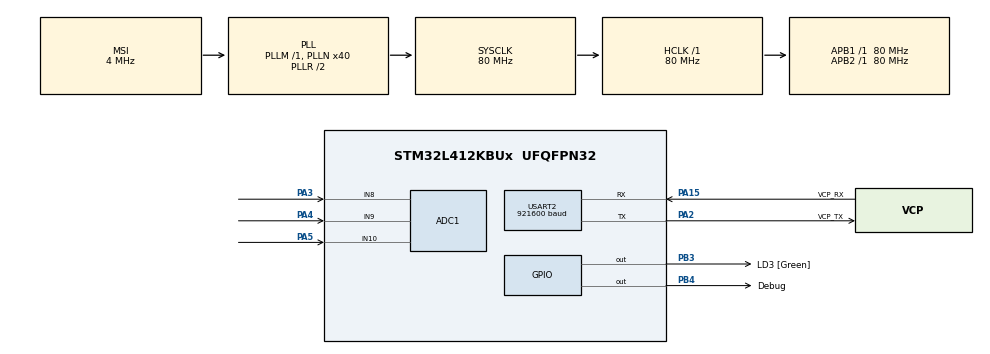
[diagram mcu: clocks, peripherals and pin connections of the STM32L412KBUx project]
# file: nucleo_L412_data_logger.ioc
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ADC1.Channel-0\#ChannelRegularConversion=ADC_CHANNEL_8
ADC1.ContinuousConvMode=ENABLE
ADC1.EnableInjectedConversion=ENABLE
ADC1.InjMonitoredBy-1\#ChannelInjectedConversion=__NULL
ADC1.InjMonitoredBy-2\#ChannelInjectedConversion=__NULL
ADC1.InjMonitoredBy-3\#ChannelInjectedConversion=__NULL
ADC1.InjNumberOfConversion=3
ADC1.InjectedChannel-1\#ChannelInjectedConversion=ADC_CHANNEL_8
ADC1.InjectedChannel-2\#ChannelInjectedConversion=ADC_CHANNEL_9
ADC1.InjectedChannel-3\#ChannelInjectedConversion=ADC_CHANNEL_10
ADC1.InjectedOffsetNumber-1\#ChannelInjectedConversion=ADC_OFFSET_NONE
ADC1.InjectedOffsetNumber-2\#ChannelInjectedConversion=ADC_OFFSET_NONE
ADC1.InjectedOffsetNumber-3\#ChannelInjectedConversion=ADC_OFFSET_NONE
ADC1.InjectedRank-1\#ChannelInjectedConversion=1
ADC1.InjectedRank-2\#ChannelInjectedConversion=2
ADC1.InjectedRank-3\#ChannelInjectedConversion=3
ADC1.InjectedSamplingTime-1\#ChannelInjectedConversion=ADC_SAMPLETIME_2CYCLES_5
ADC1.InjectedSamplingTime-2\#ChannelInjectedConversion=ADC_SAMPLETIME_2CYCLES_5
ADC1.InjectedSamplingTime-3\#ChannelInjectedConversion=ADC_SAMPLETIME_2CYCLES_5
ADC1.NbrOfConversionFlag=1
ADC1.OffsetNumber-0\#ChannelRegularConversion=ADC_OFFSET_NONE
ADC1.Rank-0\#ChannelRegularConversion=1
ADC1.Rank1_Channel=ADC_CHANNEL_8
ADC1.Rank2_Channel=ADC_CHANNEL_9
ADC1.Rank3_Channel=ADC_CHANNEL_10
ADC1.SamplingTime-0\#ChannelRegularConversion=ADC_SAMPLETIME_2CYCLES_5
ADC1.master=1
Mcu.Family=STM32L4
Mcu.Name=STM32L412KBUx
Mcu.Package=UFQFPN32
NVIC.PriorityGroup=NVIC_PRIORITYGROUP_4
PA0-CK_IN.Mode=HSE-External-Clock-Source-for-LittleOrca
PA0-CK_IN.Signal=RCC_CK_IN
PA13\ (JTMS/SWDIO).GPIO_Label=SWDIO
PA13\ (JTMS/SWDIO).Mode=Serial_Wire
PA13\ (JTMS/SWDIO).Signal=SYS_JTMS-SWDIO
PA14\ (JTCK/SWCLK).GPIO_Label=SWCLK
PA14\ (JTCK/SWCLK).Mode=Serial_Wire
PA14\ (JTCK/SWCLK).Signal=SYS_JTCK-SWCLK
PA15\ (JTDI).GPIO_Label=VCP_RX
PA15\ (JTDI).Mode=Asynchronous
PA15\ (JTDI).Signal=USART2_RX
PA2.GPIO_Label=VCP_TX
PA2.Mode=Asynchronous
PA2.Signal=USART2_TX
PA3.Signal=ADCx_IN8
PA4.Signal=ADCx_IN9
PA5.Signal=ADCx_IN10
PB3\ (JTDO/TRACESWO).GPIO_Label=LD3 [Green]
PB3\ (JTDO/TRACESWO).Signal=GPIO_Output
PB4\ (NJTRST).GPIO_Label=Debug
PB4\ (NJTRST).GPIO_PuPd=GPIO_PULLDOWN
PB4\ (NJTRST).GPIO_Speed=GPIO_SPEED_FREQ_VERY_HIGH
PB4\ (NJTRST).Signal=GPIO_Output
PC14-OSC32_IN\ (PC14).Mode=LSE-External-Oscillator
PC14-OSC32_IN\ (PC14).Signal=RCC_OSC32_IN
PC15-OSC32_OUT\ (PC15).Mode=LSE-External-Oscillator
PC15-OSC32_OUT\ (PC15).Signal=RCC_OSC32_OUT
ProjectManager.HeapSize=0x200
ProjectManager.StackSize=0x400
ProjectManager.TargetToolchain=EWARM V8.32
RCC.ADCFreq_Value=80000000
RCC.AHBFreq_Value=80000000
RCC.APB1Freq_Value=80000000
RCC.APB1TimFreq_Value=80000000
RCC.APB2Freq_Value=80000000
RCC.APB2TimFreq_Value=80000000
RCC.CortexFreq_Value=80000000
RCC.FLatency=FLASH_LATENCY_4
RCC.HCLKFreq_Value=80000000
RCC.HSE_VALUE=8000000
RCC.HSI48_VALUE=48000000
RCC.HSICalibrationValue=16
RCC.HSI_VALUE=16000000
RCC.LSE_Drive_Capability=RCC_LSEDRIVE_LOW
RCC.MSI_VALUE=4000000
RCC.PLLN=40
RCC.SYSCLKFreq_VALUE=80000000
RCC.SYSCLKSource=RCC_SYSCLKSOURCE_PLLCLK
RCC.USBFreq_Value=4000000
RCC.VCOOutputFreq_Value=160000000
SH.ADCx_IN10.0=ADC1_IN10,IN10-Single-Ended
SH.ADCx_IN8.0=ADC1_IN8,IN8-Single-Ended
SH.ADCx_IN9.0=ADC1_IN9,IN9-Single-Ended
TIM6.Prescaler=7999
USART2.BaudRate=921600
USART2.VirtualMode-Asynchronous=VM_ASYNC
VP_TIM6_VS_ClockSourceINT.Mode=Enable_Timer
board=NUCLEO-L412KB

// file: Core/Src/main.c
/* USER CODE BEGIN Header */
/**
  ******************************************************************************
  * @file           : main.c
  * @brief          : Main program body
  ******************************************************************************
  * @attention
  *
  * Copyright (c) 2023 STMicroelectronics.
  * All rights reserved.
  *
  * This software is licensed under terms that can be found in the LICENSE file
  * in the root directory of this software component.
  * If no LICENSE file comes with this software, it is provided AS-IS.
  *
  ******************************************************************************
  */
/* USER CODE END Header */
#include "main.h"

/* USER CODE BEGIN Includes */

#include <stdio.h>
#include <string.h>

/* USER CODE END Includes */

ADC_HandleTypeDef hadc1;

TIM_HandleTypeDef htim6;

UART_HandleTypeDef huart2;

void SystemClock_Config(void);
static void MX_GPIO_Init(void);
static void MX_USART2_UART_Init(void);
static void MX_ADC1_Init(void);
static void MX_TIM6_Init(void);

/* USER CODE BEGIN 0 */

//#define UART_SPEED 115200
//#define UART_SPEED 921600  // 104 uSEc
#define UART_SPEED 1843200 // 52  uSec

//#define ROW_LEN  (512)
#define ROW_LEN  (1536)

uint32_t row_count = 0;

uint32_t raw_adc1_ch1_val = 0;
uint32_t raw_adc1_ch2_val = 0;
uint32_t raw_adc1_ch3_val = 0;

uint8_t msg_bug[32];
int msg_len = 0;

/* USER CODE END 0 */

int main(void)
{

  /* MCU Configuration--------------------------------------------------------*/

  /* Reset of all peripherals, Initializes the Flash interface and the Systick. */
  HAL_Init();

  /* Configure the system clock */
  SystemClock_Config();

  /* Initialize all configured peripherals */
  MX_GPIO_Init();
  MX_USART2_UART_Init();
  MX_ADC1_Init();
  MX_TIM6_Init();

  /* Infinite loop */
  /* USER CODE BEGIN WHILE */

  HAL_ADCEx_Calibration_Start(&hadc1, ADC_SINGLE_ENDED);

  HAL_TIM_Base_Start(&htim6);

  while (1)
  {

    HAL_GPIO_WritePin(Debug_GPIO_Port, Debug_Pin, GPIO_PIN_SET);

    HAL_ADCEx_InjectedStart(&hadc1);

    __HAL_TIM_SET_COUNTER(&htim6, 0);

    HAL_ADCEx_InjectedPollForConversion(&hadc1, 1);

    //HAL_Delay(1);

    raw_adc1_ch1_val = HAL_ADCEx_InjectedGetValue(&hadc1, ADC_INJECTED_RANK_1);
    raw_adc1_ch2_val = HAL_ADCEx_InjectedGetValue(&hadc1, ADC_INJECTED_RANK_2);
    raw_adc1_ch3_val = HAL_ADCEx_InjectedGetValue(&hadc1, ADC_INJECTED_RANK_3);

    double data1 = raw_adc1_ch1_val;

    if(row_count < (ROW_LEN - 1) )
    {
        row_count += 1;

        msg_len = sprintf((char*)msg_bug, "%.4f ", data1);  // 28 uSec
    }
    else
    {
        row_count = 0;

        msg_len = sprintf((char*)msg_bug, "%.4f\n", data1);  // 28 uSec
    }

    HAL_UART_Transmit(&huart2, msg_bug, msg_len, 1);  // 102 uSec

    HAL_GPIO_WritePin(Debug_GPIO_Port, Debug_Pin, GPIO_PIN_RESET);
    //HAL_GPIO_TogglePin(Debug_GPIO_Port, Debug_Pin);

    while( __HAL_TIM_GET_COUNTER(&htim6) < 10 )  // 1 msec delay
    {
    }

    /* USER CODE END WHILE */

  }
}

void SystemClock_Config(void)
{
  RCC_OscInitTypeDef RCC_OscInitStruct = {0};
  RCC_ClkInitTypeDef RCC_ClkInitStruct = {0};

  /** Configure the main internal regulator output voltage
  */
  if (HAL_PWREx_ControlVoltageScaling(PWR_REGULATOR_VOLTAGE_SCALE1) != HAL_OK)
  {
    Error_Handler();
  }

  /** Configure LSE Drive Capability
  */
  HAL_PWR_EnableBkUpAccess();
  __HAL_RCC_LSEDRIVE_CONFIG(RCC_LSEDRIVE_LOW);

  /** Initializes the RCC Oscillators according to the specified parameters
  * in the RCC_OscInitTypeDef structure.
  */
  RCC_OscInitStruct.OscillatorType = RCC_OSCILLATORTYPE_LSE|RCC_OSCILLATORTYPE_MSI;
  RCC_OscInitStruct.LSEState = RCC_LSE_ON;
  RCC_OscInitStruct.MSIState = RCC_MSI_ON;
  RCC_OscInitStruct.MSICalibrationValue = 0;
  RCC_OscInitStruct.MSIClockRange = RCC_MSIRANGE_6;
  RCC_OscInitStruct.PLL.PLLState = RCC_PLL_ON;
  RCC_OscInitStruct.PLL.PLLSource = RCC_PLLSOURCE_MSI;
  RCC_OscInitStruct.PLL.PLLM = 1;
  RCC_OscInitStruct.PLL.PLLN = 40;
  RCC_OscInitStruct.PLL.PLLQ = RCC_PLLQ_DIV2;
  RCC_OscInitStruct.PLL.PLLR = RCC_PLLR_DIV2;
  if (HAL_RCC_OscConfig(&RCC_OscInitStruct) != HAL_OK)
  {
    Error_Handler();
  }

  /** Initializes the CPU, AHB and APB buses clocks
  */
  RCC_ClkInitStruct.ClockType = RCC_CLOCKTYPE_HCLK|RCC_CLOCKTYPE_SYSCLK
                              |RCC_CLOCKTYPE_PCLK1|RCC_CLOCKTYPE_PCLK2;
  RCC_ClkInitStruct.SYSCLKSource = RCC_SYSCLKSOURCE_PLLCLK;
  RCC_ClkInitStruct.AHBCLKDivider = RCC_SYSCLK_DIV1;
  RCC_ClkInitStruct.APB1CLKDivider = RCC_HCLK_DIV1;
  RCC_ClkInitStruct.APB2CLKDivider = RCC_HCLK_DIV1;

  if (HAL_RCC_ClockConfig(&RCC_ClkInitStruct, FLASH_LATENCY_4) != HAL_OK)
  {
    Error_Handler();
  }

  /** Enable MSI Auto calibration
  */
  HAL_RCCEx_EnableMSIPLLMode();
}

static void MX_ADC1_Init(void)
{

  ADC_MultiModeTypeDef multimode = {0};
  ADC_ChannelConfTypeDef sConfig = {0};
  ADC_InjectionConfTypeDef sConfigInjected = {0};

  /** Common config
  */
  hadc1.Instance = ADC1;
  hadc1.Init.ClockPrescaler = ADC_CLOCK_ASYNC_DIV1;
  hadc1.Init.Resolution = ADC_RESOLUTION_12B;
  hadc1.Init.DataAlign = ADC_DATAALIGN_RIGHT;
  hadc1.Init.ScanConvMode = ADC_SCAN_ENABLE;
  hadc1.Init.EOCSelection = ADC_EOC_SINGLE_CONV;
  hadc1.Init.LowPowerAutoWait = DISABLE;
  hadc1.Init.ContinuousConvMode = ENABLE;
  hadc1.Init.NbrOfConversion = 1;
  hadc1.Init.DiscontinuousConvMode = DISABLE;
  hadc1.Init.ExternalTrigConv = ADC_SOFTWARE_START;
  hadc1.Init.ExternalTrigConvEdge = ADC_EXTERNALTRIGCONVEDGE_NONE;
  hadc1.Init.DMAContinuousRequests = DISABLE;
  hadc1.Init.Overrun = ADC_OVR_DATA_PRESERVED;
  hadc1.Init.OversamplingMode = DISABLE;
  if (HAL_ADC_Init(&hadc1) != HAL_OK)
  {
    Error_Handler();
  }

  /** Configure the ADC multi-mode
  */
  multimode.Mode = ADC_MODE_INDEPENDENT;
  if (HAL_ADCEx_MultiModeConfigChannel(&hadc1, &multimode) != HAL_OK)
  {
    Error_Handler();
  }

  /** Disable Injected Queue
  */
  HAL_ADCEx_DisableInjectedQueue(&hadc1);

  /** Configure Regular Channel
  */
  sConfig.Channel = ADC_CHANNEL_8;
  sConfig.Rank = ADC_REGULAR_RANK_1;
  sConfig.SamplingTime = ADC_SAMPLETIME_2CYCLES_5;
  sConfig.SingleDiff = ADC_SINGLE_ENDED;
  sConfig.OffsetNumber = ADC_OFFSET_NONE;
  sConfig.Offset = 0;
  if (HAL_ADC_ConfigChannel(&hadc1, &sConfig) != HAL_OK)
  {
    Error_Handler();
  }

  /** Configure Injected Channel
  */
  sConfigInjected.InjectedChannel = ADC_CHANNEL_8;
  sConfigInjected.InjectedRank = ADC_INJECTED_RANK_1;
  sConfigInjected.InjectedSamplingTime = ADC_SAMPLETIME_2CYCLES_5;
  sConfigInjected.InjectedSingleDiff = ADC_SINGLE_ENDED;
  sConfigInjected.InjectedOffsetNumber = ADC_OFFSET_NONE;
  sConfigInjected.InjectedOffset = 0;
  sConfigInjected.InjectedNbrOfConversion = 3;
  sConfigInjected.InjectedDiscontinuousConvMode = DISABLE;
  sConfigInjected.AutoInjectedConv = DISABLE;
  sConfigInjected.QueueInjectedContext = DISABLE;
  sConfigInjected.ExternalTrigInjecConv = ADC_INJECTED_SOFTWARE_START;
  sConfigInjected.ExternalTrigInjecConvEdge = ADC_EXTERNALTRIGINJECCONV_EDGE_NONE;
  sConfigInjected.InjecOversamplingMode = DISABLE;
  if (HAL_ADCEx_InjectedConfigChannel(&hadc1, &sConfigInjected) != HAL_OK)
  {
    Error_Handler();
  }

  /** Configure Injected Channel
  */
  sConfigInjected.InjectedChannel = ADC_CHANNEL_9;
  sConfigInjected.InjectedRank = ADC_INJECTED_RANK_2;
  if (HAL_ADCEx_InjectedConfigChannel(&hadc1, &sConfigInjected) != HAL_OK)
  {
    Error_Handler();
  }

  /** Configure Injected Channel
  */
  sConfigInjected.InjectedChannel = ADC_CHANNEL_10;
  sConfigInjected.InjectedRank = ADC_INJECTED_RANK_3;
  if (HAL_ADCEx_InjectedConfigChannel(&hadc1, &sConfigInjected) != HAL_OK)
  {
    Error_Handler();
  }

}

static void MX_TIM6_Init(void)
{

  TIM_MasterConfigTypeDef sMasterConfig = {0};

  htim6.Instance = TIM6;
  htim6.Init.Prescaler = 7999;
  htim6.Init.CounterMode = TIM_COUNTERMODE_UP;
  htim6.Init.Period = 65535;
  htim6.Init.AutoReloadPreload = TIM_AUTORELOAD_PRELOAD_DISABLE;
  if (HAL_TIM_Base_Init(&htim6) != HAL_OK)
  {
    Error_Handler();
  }
  sMasterConfig.MasterOutputTrigger = TIM_TRGO_RESET;
  sMasterConfig.MasterSlaveMode = TIM_MASTERSLAVEMODE_DISABLE;
  if (HAL_TIMEx_MasterConfigSynchronization(&htim6, &sMasterConfig) != HAL_OK)
  {
    Error_Handler();
  }

}

static void MX_USART2_UART_Init(void)
{

  huart2.Instance = USART2;
  huart2.Init.BaudRate = UART_SPEED; //921600;
  huart2.Init.WordLength = UART_WORDLENGTH_8B;
  huart2.Init.StopBits = UART_STOPBITS_1;
  huart2.Init.Parity = UART_PARITY_NONE;
  huart2.Init.Mode = UART_MODE_TX_RX;
  huart2.Init.HwFlowCtl = UART_HWCONTROL_NONE;
  huart2.Init.OverSampling = UART_OVERSAMPLING_16;
  huart2.Init.OneBitSampling = UART_ONE_BIT_SAMPLE_DISABLE;
  huart2.AdvancedInit.AdvFeatureInit = UART_ADVFEATURE_NO_INIT;
  if (HAL_UART_Init(&huart2) != HAL_OK)
  {
    Error_Handler();
  }

}

static void MX_GPIO_Init(void)
{
  GPIO_InitTypeDef GPIO_InitStruct = {0};

  /* GPIO Ports Clock Enable */
  __HAL_RCC_GPIOC_CLK_ENABLE();
  __HAL_RCC_GPIOA_CLK_ENABLE();
  __HAL_RCC_GPIOB_CLK_ENABLE();

  /*Configure GPIO pin Output Level */
  HAL_GPIO_WritePin(GPIOB, LD3_Pin|Debug_Pin, GPIO_PIN_RESET);

  /*Configure GPIO pin : LD3_Pin */
  GPIO_InitStruct.Pin = LD3_Pin;
  GPIO_InitStruct.Mode = GPIO_MODE_OUTPUT_PP;
  GPIO_InitStruct.Pull = GPIO_NOPULL;
  GPIO_InitStruct.Speed = GPIO_SPEED_FREQ_LOW;
  HAL_GPIO_Init(LD3_GPIO_Port, &GPIO_InitStruct);

  /*Configure GPIO pin : Debug_Pin */
  GPIO_InitStruct.Pin = Debug_Pin;
  GPIO_InitStruct.Mode = GPIO_MODE_OUTPUT_PP;
  GPIO_InitStruct.Pull = GPIO_PULLDOWN;
  GPIO_InitStruct.Speed = GPIO_SPEED_FREQ_VERY_HIGH;
  HAL_GPIO_Init(Debug_GPIO_Port, &GPIO_InitStruct);

}

void Error_Handler(void)
{
  __disable_irq();
  while (1)
  {
  }
}
